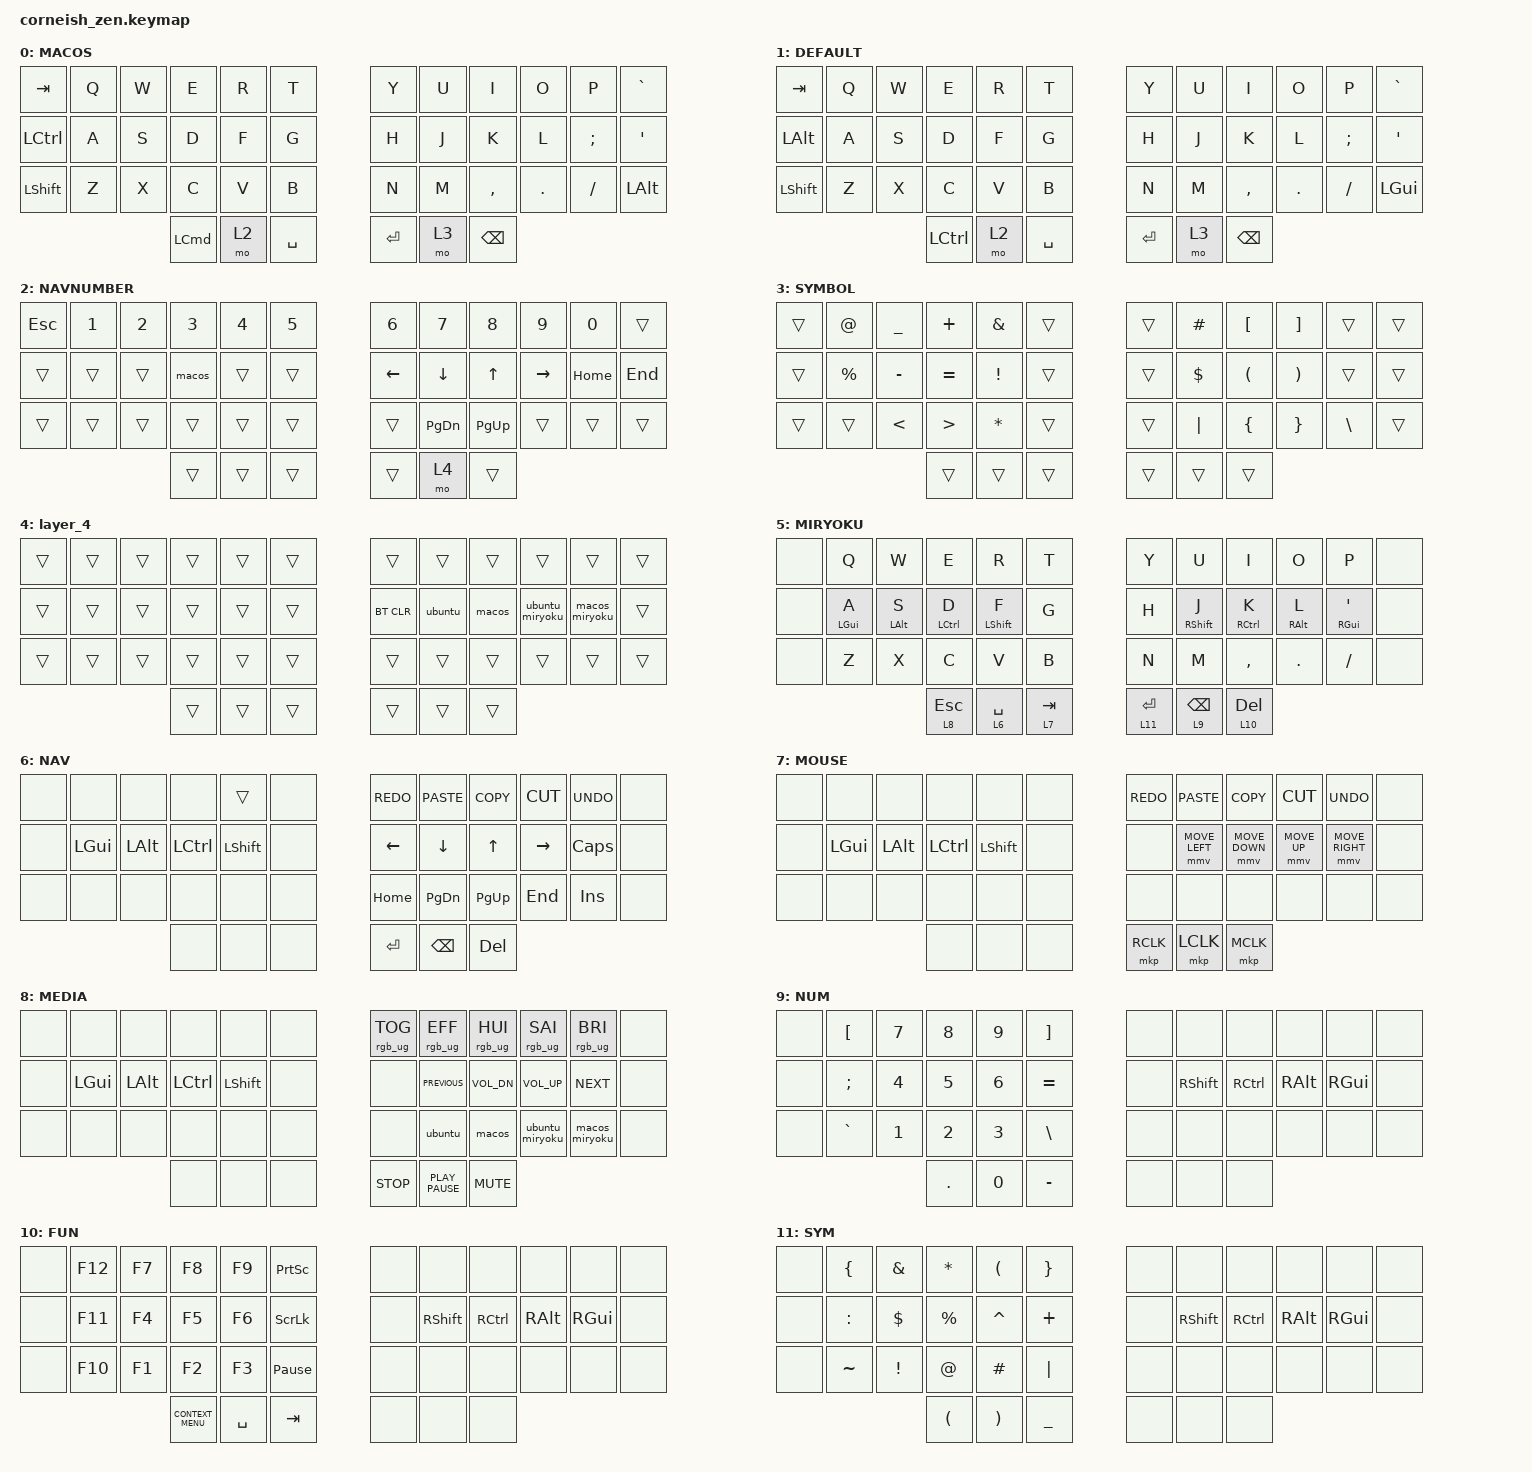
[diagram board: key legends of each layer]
/*
 * Copyright (c) 2020 The ZMK Contributors
 *
 * SPDX-License-Identifier: MIT
 */

#include <behaviors.dtsi>
#include <dt-bindings/zmk/bt.h>
#include <dt-bindings/zmk/keys.h>
#include <dt-bindings/zmk/pointing.h>
#include <dt-bindings/zmk/pointing.h>
#include <dt-bindings/zmk/rgb.h>

/ {
    chosen {
        zmk,matrix_transform = &default_transform;

        // zmk,matrix_transform = &five_column_transform;
    };
};

/ {
    behaviors {
        td0: td0 {
            compatible = "zmk,behavior-tap-dance";
            label = "TD0";
            #binding-cells = <0>;
            bindings = <&kp LEFT_SHIFT>, <&kp CAPS>;
        };

        htp: htp {
            compatible = "zmk,behavior-hold-tap";
            label = "HTP";
            bindings = <&kp>, <&kp>;

            #binding-cells = <2>;
            tapping-term-ms = <175>;
            flavor = "tap-preferred";
            quick-tap-ms = <125>;
        };
    };

    keymap {
        compatible = "zmk,keymap";

        macos_layer {
            display-name = "MACOS";

            // -----------------------------------------------------------------------------------------
            // |  TAB |  Q  |  W  |  E  |  R  |  T  |   |  Y  |  U   |  I  |  O  |  P  | BSPC |
            // | CTRL |  A  |  S  |  D  |  F  |  G  |   |  H  |  J   |  K  |  L  |  ;  |  '   |
            // | SHFT |  Z  |  X  |  C  |  V  |  B  |   |  N  |  M   |  ,  |  .  |  /  | ESC  |
            //                    | GUI | LWR | SPC |   | ENT | RSE  | ALT |

            bindings = <
&kp TAB    &kp Q  &kp W  &kp E             &kp R  &kp T        &kp Y      &kp U  &kp I          &kp O    &kp P     &kp GRAVE
&kp LCTRL  &kp A  &kp S  &kp D             &kp F  &kp G        &kp H      &kp J  &kp K          &kp L    &kp SEMI  &kp SQT
&kp LSHFT  &kp Z  &kp X  &kp C             &kp V  &kp B        &kp N      &kp M  &kp COMMA      &kp DOT  &kp FSLH  &kp LEFT_ALT
                         &kp LEFT_COMMAND  &mo 2  &kp SPACE    &kp ENTER  &mo 3  &kp BACKSPACE
            >;
        };

        default_layer {
            display-name = "DEFAULT";

            // -----------------------------------------------------------------------------------------
            // |  TAB |  Q  |  W  |  E  |  R  |  T  |   |  Y  |  U   |  I  |  O  |  P  | BSPC |
            // | CTRL |  A  |  S  |  D  |  F  |  G  |   |  H  |  J   |  K  |  L  |  ;  |  '   |
            // | SHFT |  Z  |  X  |  C  |  V  |  B  |   |  N  |  M   |  ,  |  .  |  /  | ESC  |
            //                    | GUI | LWR | SPC |   | ENT | RSE  | ALT |

            bindings = <
&kp TAB    &kp Q  &kp W  &kp E      &kp R  &kp T        &kp Y      &kp U  &kp I          &kp O    &kp P     &kp GRAVE
&kp LALT   &kp A  &kp S  &kp D      &kp F  &kp G        &kp H      &kp J  &kp K          &kp L    &kp SEMI  &kp SQT
&kp LSHFT  &kp Z  &kp X  &kp C      &kp V  &kp B        &kp N      &kp M  &kp COMMA      &kp DOT  &kp FSLH  &kp LGUI
                         &kp LCTRL  &mo 2  &kp SPACE    &kp ENTER  &mo 3  &kp BACKSPACE
            >;
        };

        lower_layer {
            display-name = "NAVNUMBER";

            // -----------------------------------------------------------------------------------------
            // |  TAB |  1  |  2  |  3  |  4  |  5  |   |  6  |  7  |  8  |  9  |  0  | BSPC |
            // | BTCLR| BT1 | BT2 | BT3 | BT4 | BT5 |   | LFT | DWN |  UP | RGT |     |      |
            // | SHFT |     |     |     |     |     |   |     |     |     |     |     |      |
            //                    | GUI |     | SPC |   | ENT |     | ALT |

            bindings = <
&kp ESC  &kp N1  &kp N2  &kp N3  &kp N4  &kp N5    &kp N6    &kp N7         &kp N8        &kp N9     &kp N0    &trans
&trans   &trans  &trans  &macos  &trans  &trans    &kp LEFT  &kp DOWN       &kp UP_ARROW  &kp RIGHT  &kp HOME  &kp END
&trans   &trans  &trans  &trans  &trans  &trans    &trans    &kp PAGE_DOWN  &kp PAGE_UP   &trans     &trans    &trans
                         &trans  &trans  &trans    &trans    &mo 4          &trans
            >;
        };

        raise_layer {
            display-name = "SYMBOL";

            // -----------------------------------------------------------------------------------------
            // |  TAB |  !  |  @  |  #  |  $  |  %  |   |  ^  |  &  |  *  |  (  |  )  | BSPC |
            // | CTRL |     |     |     |     |     |   |  -  |  =  |  [  |  ]  |  \  |  `   |
            // | SHFT |     |     |     |     |     |   |  _  |  +  |  {  |  }  | "|" |  ~   |
            //                    | GUI |     | SPC |   | ENT |     | ALT |

            bindings = <
&trans  &kp AT_SIGN  &kp UNDERSCORE  &kp PLUS          &kp AMPERSAND    &trans    &trans  &kp HASH    &kp LEFT_BRACKET      &kp RIGHT_BRACKET      &trans         &trans
&trans  &kp PERCENT  &kp MINUS       &kp EQUAL         &kp EXCLAMATION  &trans    &trans  &kp DOLLAR  &kp LEFT_PARENTHESIS  &kp RIGHT_PARENTHESIS  &trans         &trans
&trans  &trans       &kp LESS_THAN   &kp GREATER_THAN  &kp ASTERISK     &trans    &trans  &kp PIPE    &kp LEFT_BRACE        &kp RIGHT_BRACE        &kp BACKSLASH  &trans
                                     &trans            &trans           &trans    &trans  &trans      &trans
            >;
        };

        layer_4 {
            bindings = <
&trans  &trans  &trans  &trans  &trans  &trans    &trans      &trans   &trans  &trans           &trans          &trans
&trans  &trans  &trans  &trans  &trans  &trans    &bt BT_CLR  &ubuntu  &macos  &ubuntu_miryoku  &macos_miryoku  &trans
&trans  &trans  &trans  &trans  &trans  &trans    &trans      &trans   &trans  &trans           &trans          &trans
                        &trans  &trans  &trans    &trans      &trans   &trans
            >;
        };

        MIRYOKU {
            bindings = <
&none  &kp Q        &kp W        &kp E         &kp R          &kp T        &kp Y         &kp U            &kp I          &kp O        &kp P          &none
&none  &htp LGUI A  &htp LALT S  &htp LCTRL D  &htp LSHIFT F  &kp G        &kp H         &htp RSHIFT J    &htp RCTRL K   &htp RALT L  &htp RGUI SQT  &none
&none  &kp Z        &kp X        &kp C         &kp V          &kp B        &kp N         &kp M            &kp COMMA      &kp PERIOD   &kp SLASH      &none
                                 &lt 8 ESC     &lt 6 SPACE    &lt 7 TAB    &lt 11 ENTER  &lt 9 BACKSPACE  &lt 10 DELETE
            >;

            label = "MIRYOKU";
        };

        NAV {
            bindings = <
&none  &none     &none     &none      &trans      &none    &kp K_REDO      &kp K_PASTE     &kp K_COPY    &kp K_CUT        &kp K_UNDO    &none
&none  &kp LGUI  &kp LALT  &kp LCTRL  &kp LSHIFT  &none    &kp LEFT_ARROW  &kp DOWN_ARROW  &kp UP_ARROW  &kp RIGHT_ARROW  &kp CAPSLOCK  &none
&none  &none     &none     &none      &none       &none    &kp HOME        &kp PAGE_DOWN   &kp PAGE_UP   &kp END          &kp INSERT    &none
                           &none      &none       &none    &kp ENTER       &kp BACKSPACE   &kp DELETE
            >;

            label = "NAV";
        };

        MOUSE {
            bindings = <
&none  &none     &none     &none      &none       &none    &kp K_REDO  &kp K_PASTE     &kp K_COPY      &kp K_CUT     &kp K_UNDO       &none
&none  &kp LGUI  &kp LALT  &kp LCTRL  &kp LSHIFT  &none    &none       &mmv MOVE_LEFT  &mmv MOVE_DOWN  &mmv MOVE_UP  &mmv MOVE_RIGHT  &none
&none  &none     &none     &none      &none       &none    &none       &none           &none           &none         &none            &none
                           &none      &none       &none    &mkp RCLK   &mkp LCLK       &mkp MCLK
            >;

            label = "MOUSE";
        };

        MEDIA {
            bindings = <
&none  &none     &none     &none      &none       &none    &rgb_ug RGB_TOG  &rgb_ug RGB_EFF   &rgb_ug RGB_HUI  &rgb_ug RGB_SAI  &rgb_ug RGB_BRI  &none
&none  &kp LGUI  &kp LALT  &kp LCTRL  &kp LSHIFT  &none    &none            &kp K_PREVIOUS    &kp C_VOL_DN     &kp C_VOLUME_UP  &kp K_NEXT       &none
&none  &none     &none     &none      &none       &none    &none            &ubuntu           &macos           &ubuntu_miryoku  &macos_miryoku   &none
                           &none      &none       &none    &kp K_STOP       &kp K_PLAY_PAUSE  &kp K_MUTE
            >;

            label = "MEDIA";
        };

        NUM {
            bindings = <
&none  &kp LEFT_BRACKET  &kp N7  &kp N8      &kp N9  &kp RIGHT_BRACKET    &none  &none       &none      &none     &none     &none
&none  &kp SEMICOLON     &kp N4  &kp N5      &kp N6  &kp EQUAL            &none  &kp RSHIFT  &kp RCTRL  &kp RALT  &kp RGUI  &none
&none  &kp GRAVE         &kp N1  &kp N2      &kp N3  &kp BACKSLASH        &none  &none       &none      &none     &none     &none
                                 &kp PERIOD  &kp N0  &kp MINUS            &none  &none       &none
            >;

            label = "NUM";
        };

        FUN {
            bindings = <
&none  &kp F12  &kp F7  &kp F8              &kp F9     &kp PRINTSCREEN    &none  &none       &none      &none     &none     &none
&none  &kp F11  &kp F4  &kp F5              &kp F6     &kp SCROLLLOCK     &none  &kp RSHIFT  &kp RCTRL  &kp RALT  &kp RGUI  &none
&none  &kp F10  &kp F1  &kp F2              &kp F3     &kp PAUSE_BREAK    &none  &none       &none      &none     &none     &none
                        &kp K_CONTEXT_MENU  &kp SPACE  &kp TAB            &none  &none       &none
            >;

            label = "FUN";
        };

        SYM {
            bindings = <
&none  &kp LEFT_BRACE  &kp AMPERSAND    &kp ASTERISK          &kp LEFT_PARENTHESIS   &kp RIGHT_BRACE    &none  &none            &none      &none     &none     &none
&none  &kp COLON       &kp DOLLAR       &kp PERCENT           &kp CARET              &kp PLUS           &none  &kp RIGHT_SHIFT  &kp RCTRL  &kp RALT  &kp RGUI  &none
&none  &kp TILDE       &kp EXCLAMATION  &kp AT_SIGN           &kp HASH               &kp PIPE           &none  &none            &none      &none     &none     &none
                                        &kp LEFT_PARENTHESIS  &kp RIGHT_PARENTHESIS  &kp UNDERSCORE     &none  &none            &none
            >;

            label = "SYM";
        };
    };
};

/ {
    macros {
        ubuntu: ubuntu {
            compatible = "zmk,behavior-macro";
            label = "macro_switch_to_ubuntu";
            #binding-cells = <0>;
            bindings = <&bt BT_SEL 0 &to 1>;
        };

        macos: macos {
            compatible = "zmk,behavior-macro";
            label = "MACOS";
            #binding-cells = <0>;
            bindings = <&bt BT_SEL 1 &to 0>;
        };

        ubuntu_miryoku: ubuntu_miryoku {
            compatible = "zmk,behavior-macro";
            #binding-cells = <0>;
            bindings = <&bt BT_SEL 2 &to 5>;
            label = "UBUNTU_MIRYOKU";
        };

        macos_miryoku: macos_miryoku {
            compatible = "zmk,behavior-macro";
            #binding-cells = <0>;
            bindings = <&bt BT_SEL 3 &to 5>;
            label = "MACOS_MIRYOKU";
        };
    };
};
